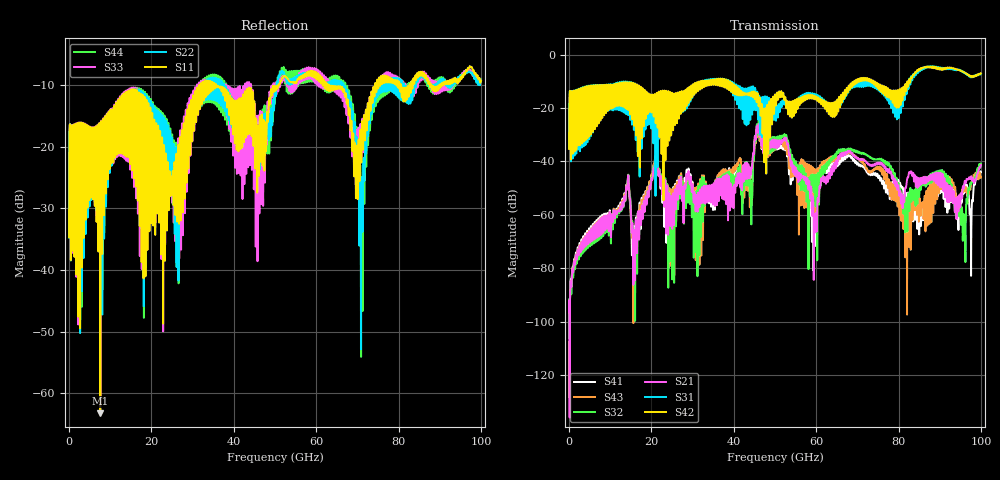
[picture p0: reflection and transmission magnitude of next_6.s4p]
# Hz S RI R 50
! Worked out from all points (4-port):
!   10000 points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, 10 MHz to 100 GHz, reference 50 ohm
!   strongest paths, dB at 10 MHz, 25.01 GHz, 50.01 GHz, 75.01 GHz, 100 GHz:
!     S42: -35.3, -14.4, -15.0, -11.9, -7.0
!     S31: -35.3, -17.4, -19.3, -12.5, -7.1
!     S21: -96.5, -64.0, -34.7, -40.4, -41.4
!     S32: -96.1, -62.5, -35.0, -39.1, -40.8
!     S43: -96.4, -56.1, -35.1, -42.4, -45.9
!     S41: -96.9, -58.8, -35.1, -45.9, -44.0
!   lowest |S11| = -63.2 dB at 7.58 GHz (marker M1), VSWR 1.00, Z = 49.9 - j0.00261 ohm
!   |S11| at or under -10 dB: start of sweep to 31.92 GHz; 35.74 GHz to 50.81 GHz (15.08 GHz wide, 34.8 % of centre); 62.81 GHz to 74.31 GHz (11.5 GHz wide, 16.8 % of centre)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
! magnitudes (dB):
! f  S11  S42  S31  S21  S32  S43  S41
! 10 MHz  -34.7  -35.3  -35.3  -96.5  -96.1  -96.4  -96.9
! 7.58 GHz  -63.2  -22.4  -24.1  -61.6  -62.4  -61.4  -60.6
! 46.07 GHz  -23.3  -18.8  -16.3  -26.3  -24.8  -26.6  -28.3
! 59.79 GHz  -8.9  -16.8  -16.0  -66.2  -55.6  -60.8  -62.9
! 67.69 GHz  -12.6  -14.1  -13.6  -36.1  -35.7  -37.1  -37.7
! 82.08 GHz  -12.3  -10.2  -11.6  -46.6  -62.2  -85.3  -56.5
! 100 GHz  -9.4  -7.0  -7.1  -41.4  -40.8  -45.9  -44.0
